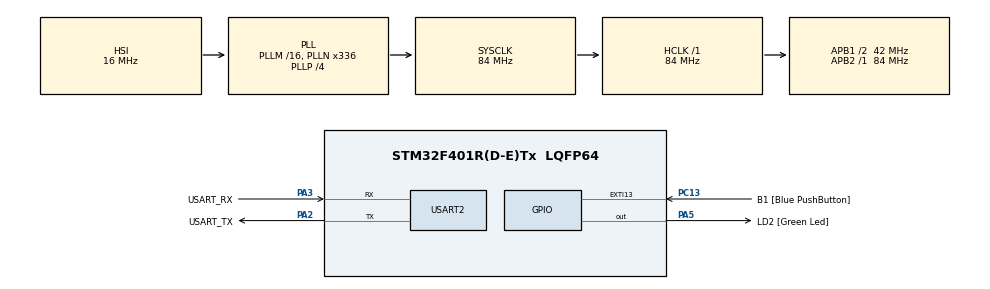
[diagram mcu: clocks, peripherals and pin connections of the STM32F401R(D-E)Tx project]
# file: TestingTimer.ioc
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Mcu.Family=STM32F4
Mcu.Name=STM32F401R(D-E)Tx
Mcu.Package=LQFP64
NVIC.PriorityGroup=NVIC_PRIORITYGROUP_4
PA13.GPIO_Label=TMS
PA13.Mode=Serial_Wire
PA13.Signal=SYS_JTMS-SWDIO
PA14.GPIO_Label=TCK
PA14.Mode=Serial_Wire
PA14.Signal=SYS_JTCK-SWCLK
PA2.GPIO_Label=USART_TX
PA2.GPIO_Mode=GPIO_MODE_AF_PP
PA2.GPIO_PuPd=GPIO_NOPULL
PA2.GPIO_Speed=GPIO_SPEED_FREQ_LOW
PA2.Mode=Asynchronous
PA2.Signal=USART2_TX
PA3.GPIO_Label=USART_RX
PA3.GPIO_Mode=GPIO_MODE_AF_PP
PA3.GPIO_PuPd=GPIO_NOPULL
PA3.GPIO_Speed=GPIO_SPEED_FREQ_LOW
PA3.Mode=Asynchronous
PA3.Signal=USART2_RX
PA5.GPIO_Label=LD2 [Green Led]
PA5.GPIO_Mode=GPIO_MODE_OUTPUT_PP
PA5.GPIO_PuPd=GPIO_NOPULL
PA5.GPIO_Speed=GPIO_SPEED_FREQ_LOW
PA5.Signal=GPIO_Output
PB3.GPIO_Label=SWO
PB3.Signal=SYS_JTDO-SWO
PC13-ANTI_TAMP.GPIO_Label=B1 [Blue PushButton]
PC13-ANTI_TAMP.GPIO_ModeDefaultEXTI=GPIO_MODE_IT_FALLING
PC13-ANTI_TAMP.GPIO_PuPd=GPIO_NOPULL
PC13-ANTI_TAMP.Signal=GPXTI13
PC14-OSC32_IN.Mode=LSE-External-Oscillator
PC14-OSC32_IN.Signal=RCC_OSC32_IN
PC15-OSC32_OUT.Mode=LSE-External-Oscillator
PC15-OSC32_OUT.Signal=RCC_OSC32_OUT
PH0\ -\ OSC_IN.Mode=HSE-External-Clock-Source
PH0\ -\ OSC_IN.Signal=RCC_OSC_IN
PH1\ -\ OSC_OUT.Mode=HSE-External-Clock-Source
PH1\ -\ OSC_OUT.Signal=RCC_OSC_OUT
ProjectManager.HeapSize=0x200
ProjectManager.StackSize=0x400
ProjectManager.TargetToolchain=STM32CubeIDE
RCC.48MHZClocksFreq_Value=48000000
RCC.AHBFreq_Value=84000000
RCC.APB1CLKDivider=RCC_HCLK_DIV2
RCC.APB1Freq_Value=42000000
RCC.APB1TimFreq_Value=84000000
RCC.APB2Freq_Value=84000000
RCC.APB2TimFreq_Value=84000000
RCC.CortexFreq_Value=84000000
RCC.HCLKFreq_Value=84000000
RCC.HSE_VALUE=8000000
RCC.HSI_VALUE=16000000
RCC.PLLN=336
RCC.PLLP=RCC_PLLP_DIV4
RCC.PLLQ=7
RCC.SYSCLKFreq_VALUE=84000000
RCC.SYSCLKSource=RCC_SYSCLKSOURCE_PLLCLK
RCC.VCOOutputFreq_Value=336000000
USART2.VirtualMode=VM_ASYNC
board=NUCLEO-F401RE

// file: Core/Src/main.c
/* USER CODE BEGIN Header */
/**
 ******************************************************************************
 * @file           : main.c
 * @brief          : Main program body
 ******************************************************************************
 * @attention
 *
 * Copyright (c) 2022 STMicroelectronics.
 * All rights reserved.
 *
 * This software is licensed under terms that can be found in the LICENSE file
 * in the root directory of this software component.
 * If no LICENSE file comes with this software, it is provided AS-IS.
 *
 ******************************************************************************
 */
/* USER CODE END Header */
#include "main.h"

UART_HandleTypeDef huart2;

void SystemClock_Config(void);
static void MX_GPIO_Init(void);
static void MX_USART2_UART_Init(void);

int main(void) {
	/* USER CODE BEGIN 1 */
	char alpha[26] = "ABCDEFGHIJKLMNOPKRSTUVWXYZ";

	char c[1];

	int fpos = -1;
	int spos = -1;

	int button_value;
	int pressed=0;
	/* USER CODE END 1 */

	/* MCU Configuration--------------------------------------------------------*/

	/* Reset of all peripherals, Initializes the Flash interface and the Systick. */
	HAL_Init();

	/* Configure the system clock */
	SystemClock_Config();

	/* Initialize all configured peripherals */
	MX_GPIO_Init();
	MX_USART2_UART_Init();

	/* Infinite loop */
	while (1) {

		/* USER CODE BEGIN 3 */

		if (HAL_UART_Receive(&huart2, c, sizeof(c), 100) == HAL_OK) {
			if (c[0] == '\r') {

				if (fpos != -1 && spos != -1) {
					char tc = alpha[(fpos * 10) + spos - 1];

					HAL_UART_Transmit(&huart2, &tc, sizeof(tc), 100);
				} else if (fpos != -1 && spos == -1) {
					char tc = alpha[fpos - 1];
					HAL_UART_Transmit(&huart2, &tc, sizeof(tc), 100);
				}

				fpos = -1;
				spos = -1;

			} else if (fpos == -1 && c[0]>='0' && c[0]<='9') {
				fpos = c[0] - '0';
				//HAL_UART_Transmit(&huart2, c, sizeof(c), 100);
			} else if (spos == -1 && c[0]>='0' && c[0]<='9') {
				spos = c[0] - '0';
				//HAL_UART_Transmit(&huart2, c, sizeof(c), 100);
			}
		}

		button_value = HAL_GPIO_ReadPin(B1_GPIO_Port, B1_Pin);
		if(button_value==0 && !pressed){
			pressed = 1;
			char b=  1;
			HAL_UART_Transmit(&huart2, &b, sizeof(b), 100);
		}else if(button_value==1 && pressed){
			pressed = 0;
		}
	}
	/* USER CODE END 3 */
}

void SystemClock_Config(void) {
	RCC_OscInitTypeDef RCC_OscInitStruct = { 0 };
	RCC_ClkInitTypeDef RCC_ClkInitStruct = { 0 };

	/** Configure the main internal regulator output voltage
	 */
	__HAL_RCC_PWR_CLK_ENABLE();
	__HAL_PWR_VOLTAGESCALING_CONFIG(PWR_REGULATOR_VOLTAGE_SCALE2);
	/** Initializes the RCC Oscillators according to the specified parameters
	 * in the RCC_OscInitTypeDef structure.
	 */
	RCC_OscInitStruct.OscillatorType = RCC_OSCILLATORTYPE_HSI;
	RCC_OscInitStruct.HSIState = RCC_HSI_ON;
	RCC_OscInitStruct.HSICalibrationValue = RCC_HSICALIBRATION_DEFAULT;
	RCC_OscInitStruct.PLL.PLLState = RCC_PLL_ON;
	RCC_OscInitStruct.PLL.PLLSource = RCC_PLLSOURCE_HSI;
	RCC_OscInitStruct.PLL.PLLM = 16;
	RCC_OscInitStruct.PLL.PLLN = 336;
	RCC_OscInitStruct.PLL.PLLP = RCC_PLLP_DIV4;
	RCC_OscInitStruct.PLL.PLLQ = 7;
	if (HAL_RCC_OscConfig(&RCC_OscInitStruct) != HAL_OK) {
		Error_Handler();
	}
	/** Initializes the CPU, AHB and APB buses clocks
	 */
	RCC_ClkInitStruct.ClockType = RCC_CLOCKTYPE_HCLK | RCC_CLOCKTYPE_SYSCLK
			| RCC_CLOCKTYPE_PCLK1 | RCC_CLOCKTYPE_PCLK2;
	RCC_ClkInitStruct.SYSCLKSource = RCC_SYSCLKSOURCE_PLLCLK;
	RCC_ClkInitStruct.AHBCLKDivider = RCC_SYSCLK_DIV1;
	RCC_ClkInitStruct.APB1CLKDivider = RCC_HCLK_DIV2;
	RCC_ClkInitStruct.APB2CLKDivider = RCC_HCLK_DIV1;

	if (HAL_RCC_ClockConfig(&RCC_ClkInitStruct, FLASH_LATENCY_2) != HAL_OK) {
		Error_Handler();
	}
}

static void MX_USART2_UART_Init(void) {

	huart2.Instance = USART2;
	huart2.Init.BaudRate = 115200;
	huart2.Init.WordLength = UART_WORDLENGTH_8B;
	huart2.Init.StopBits = UART_STOPBITS_1;
	huart2.Init.Parity = UART_PARITY_NONE;
	huart2.Init.Mode = UART_MODE_TX_RX;
	huart2.Init.HwFlowCtl = UART_HWCONTROL_NONE;
	huart2.Init.OverSampling = UART_OVERSAMPLING_16;
	if (HAL_UART_Init(&huart2) != HAL_OK) {
		Error_Handler();
	}

}

static void MX_GPIO_Init(void) {
	GPIO_InitTypeDef GPIO_InitStruct = { 0 };

	/* GPIO Ports Clock Enable */
	__HAL_RCC_GPIOC_CLK_ENABLE();
	__HAL_RCC_GPIOH_CLK_ENABLE();
	__HAL_RCC_GPIOA_CLK_ENABLE();
	__HAL_RCC_GPIOB_CLK_ENABLE();

	/*Configure GPIO pin Output Level */
	HAL_GPIO_WritePin(LD2_GPIO_Port, LD2_Pin, GPIO_PIN_RESET);

	/*Configure GPIO pin : B1_Pin */
	GPIO_InitStruct.Pin = B1_Pin;
	GPIO_InitStruct.Mode = GPIO_MODE_IT_FALLING;
	GPIO_InitStruct.Pull = GPIO_NOPULL;
	HAL_GPIO_Init(B1_GPIO_Port, &GPIO_InitStruct);

	/*Configure GPIO pin : LD2_Pin */
	GPIO_InitStruct.Pin = LD2_Pin;
	GPIO_InitStruct.Mode = GPIO_MODE_OUTPUT_PP;
	GPIO_InitStruct.Pull = GPIO_NOPULL;
	GPIO_InitStruct.Speed = GPIO_SPEED_FREQ_LOW;
	HAL_GPIO_Init(LD2_GPIO_Port, &GPIO_InitStruct);

}

void Error_Handler(void) {
	__disable_irq();
	while (1) {
	}
}
